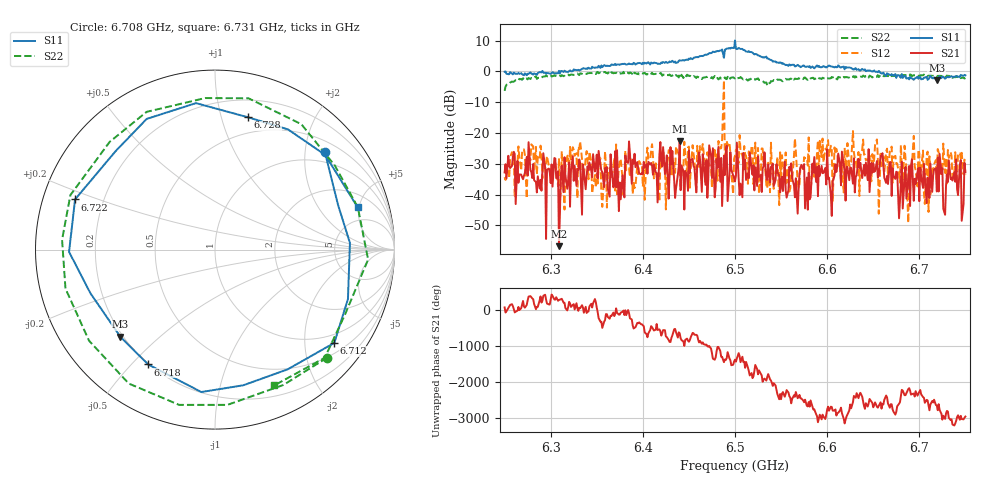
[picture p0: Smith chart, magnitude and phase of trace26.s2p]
# Hz S RI R 50
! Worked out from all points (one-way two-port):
!   401 points, 6.25 GHz to 6.75 GHz, reference 50 ohm
!   highest |S21| = -22.70 dB at 6.44 GHz (marker M1); lowest = -56.8 dB at 6.309 GHz (marker M2)
!   lowest |S11| = -2.9 dB at 6.719 GHz (marker M3), VSWR 6.06, Z = 9.47 - j18.9 ohm
!   |S11| at or under -10 dB: nowhere
!   |S22| runs from -6.3 to 0.0 dB; largest |S21 - S12| = 0.7
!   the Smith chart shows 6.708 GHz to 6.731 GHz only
!   S11 on the Smith chart (normalised r, x): 6.708 GHz: 0.74, +2.44; 6.712 GHz: 0.75, -2.72; 6.718 GHz: 0.20, -0.56; 6.722 GHz: 0.10, +0.17; 6.728 GHz: 0.35, +1.22; 6.731 GHz: 3.18, +4.81
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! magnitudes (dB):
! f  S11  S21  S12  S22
! 6.25 GHz  -0.1  -32.8  -34.4  -6.3
! 6.279 GHz  -0.7  -32.6  -23.7  -2.1
! 6.309 GHz  0.2  -56.8  -28.2  -1.2
! 6.334 GHz  0.8  -46.5  -28.5  -0.8
! 6.391 GHz  2.6  -26.8  -37.9  -0.6
! 6.408 GHz  2.3  -30.3  -28.6  -0.9
! 6.418 GHz  2.5  -27.0  -42.3  -0.8
! 6.44 GHz  3.6  -22.7  -33.5  -0.9
! 6.474 GHz  5.9  -27.3  -31.1  -2.1
! 6.485 GHz  6.8  -28.1  -25.0  -2.4
! 6.5 GHz  10.1  -35.7  -27.5  -2.3
! 6.584 GHz  1.6  -30.0  -30.8  -2.1
! 6.592 GHz  1.4  -33.9  -22.6  -2.2
! 6.668 GHz  -1.1  -29.8  -25.9  -1.3
! 6.708 GHz  -1.7  -42.8  -27.2  -1.2
! 6.712 GHz  -1.5  -29.9  -39.9  -1.0
! 6.718 GHz  -2.6  -31.5  -28.8  -1.3
! 6.719 GHz  -2.9  -39.0  -35.0  -1.5
! 6.722 GHz  -1.6  -26.8  -34.0  -1.3
! 6.728 GHz  -2.4  -46.6  -33.0  -1.4
! 6.731 GHz  -1.6  -35.9  -25.5  -1.7
! 6.75 GHz  -1.3  -32.7  -33.5  -2.2
